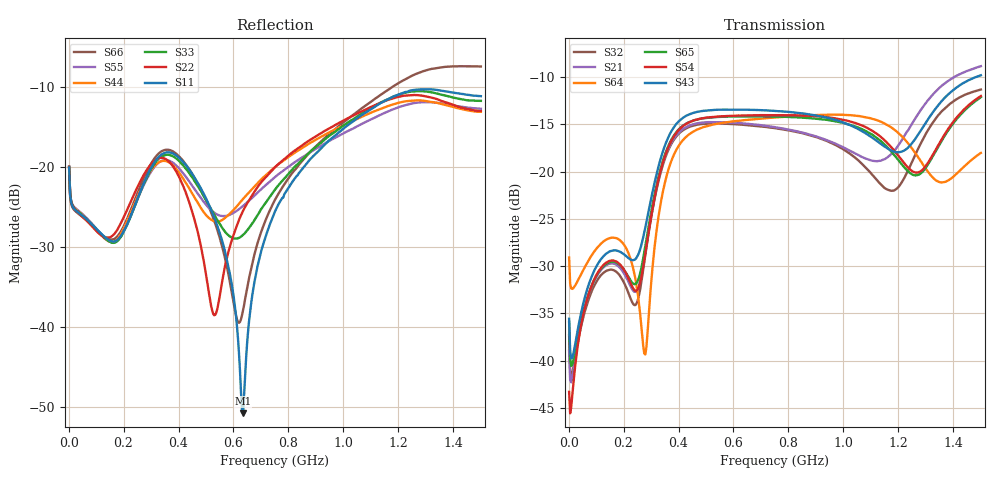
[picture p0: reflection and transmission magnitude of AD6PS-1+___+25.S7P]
! Mini-Circuits
! S7P DATA File Format
! Type: 6 Way 0 degree Power Splitter
! Model: AD6PS-1+
! PINOUT: SUMPORT=PORT7 , OUT1 PORT=PORT1 , OUT2 PORT=PORT2 , OUT3 PORT=PORT3 , OUT4 PORT=PORT4 , OUT5 PORT=PORT5 , OUT6 PORT=PORT6
! TEST CONDITIONS: INPUT POWER = 0 dBm @ Temperature = + 25 deg C
! 401 Frequency points
! All S Parameters are in dB deg format
# MHz S DB R 50
! FREQ  MAG(S11)PHS(S11)MAG(S12)PHS(S12)MAG(S13)PHS(S13)MAG(S14)PHS(S14)MAG(S15)PHS(S15)MAG(S16)PHS(S16)MAG(S17)PHS(S17)
!	MAG(S21)PHS(S21)MAG(S22)PHS(S22)MAG(S23)PHS(S23)MAG(S24)PHS(S24)MAG(S25)PHS(S25)MAG(S26)PHS(S26)MAG(S27)PHS(S27)
!	MAG(S31)PHS(S31)MAG(S32)PHS(S32)MAG(S33)PHS(S33)MAG(S34)PHS(S34)MAG(S35)PHS(S35)MAG(S36)PHS(S36)MAG(S37)PHS(S37)
!	MAG(S41)PHS(S41)MAG(S42)PHS(S42)MAG(S43)PHS(S43)MAG(S44)PHS(S44)MAG(S45)PHS(S45)MAG(S46)PHS(S46)MAG(S47)PHS(S47)
!	MAG(S51)PHS(S51)MAG(S52)PHS(S52)MAG(S53)PHS(S53)MAG(S54)PHS(S54)MAG(S55)PHS(S55)MAG(S56)PHS(S56)MAG(S57)PHS(S57)
!	MAG(S61)PHS(S61)MAG(S62)PHS(S62)MAG(S63)PHS(S63)MAG(S64)PHS(S64)MAG(S65)PHS(S65)MAG(S66)PHS(S66)MAG(S67)PHS(S67)
!	MAG(S71)PHS(S71)MAG(S72)PHS(S72)MAG(S73)PHS(S73)MAG(S74)PHS(S74)MAG(S75)PHS(S75)MAG(S76)PHS(S76)MAG(S77)PHS(S77)
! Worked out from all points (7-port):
!   401 points, 2 MHz to 1.5 GHz, reference 50 ohm
!   strongest paths, dB at 2 MHz, 376.5 MHz, 751 MHz, 1.125 GHz, 1.5 GHz:
!     S43: -35.6, -15.6, -13.6, -16.9, -9.8
!     S54: -43.3, -16.6, -14.0, -16.1, -12.0
!     S65: -35.9, -16.5, -14.2, -16.5, -12.1
!     S64: -29.1, -18.7, -14.3, -14.6, -18.0
!     S21: -39.0, -16.8, -15.3, -18.9, -8.8
!     S32: -37.3, -16.9, -15.4, -21.0, -11.3
!   lowest |S11| = -50.8 dB at 634.9 MHz (marker M1), VSWR 1.01, Z = 49.8 - j0.236 ohm
!   |S11| at or under -10 dB: start of sweep to end of sweep
